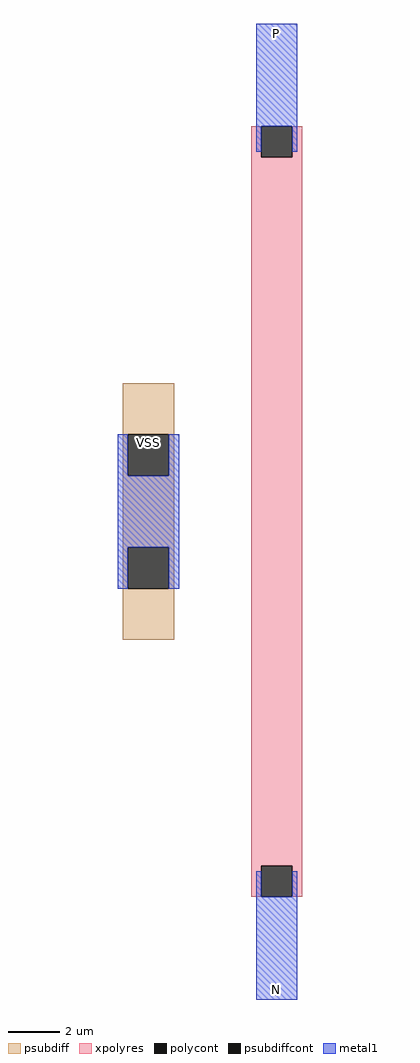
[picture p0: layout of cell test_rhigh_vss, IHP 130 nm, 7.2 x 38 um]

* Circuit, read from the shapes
.subckt test_rhigh_vss P N VSS
XR1 N P xpolyres w=3.6u l=15.8667u
.ends

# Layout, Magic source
magic
tech ihp-sg13g2
<< psubdiff >>
rect 500 2800 700 3000
rect 500 2640 520 2800
rect 680 2640 700 2800
rect 500 2360 700 2640
rect 500 2200 520 2360
rect 680 2200 700 2360
rect 500 2000 700 2200
<< psubdiffcont >>
rect 520 2640 680 2800
rect 520 2200 680 2360
<< polycont >>
rect 1040 3880 1160 4000
rect 1040 1000 1160 1120
<< xpolyres >>
rect 1000 3880 1040 4000
rect 1160 3880 1200 4000
rect 1000 1120 1200 3880
rect 1000 1000 1040 1120
rect 1160 1000 1200 1120
<< metal1 >>
rect 1020 4000 1180 4400
rect 1020 3900 1040 4000
rect 1160 3900 1180 4000
rect 480 2640 520 2800
rect 680 2640 720 2800
rect 480 2360 720 2640
rect 480 2200 520 2360
rect 680 2200 720 2360
rect 1020 1000 1040 1100
rect 1160 1000 1180 1100
rect 1020 600 1180 1000
<< labels >>
rlabel metal1 500 2740 700 2800 5 VSS
port 3 s
rlabel metal1 1040 4320 1160 4400 1 P
port 1 n
rlabel metal1 1040 600 1160 680 1 N
port 2 n
<< end >>
